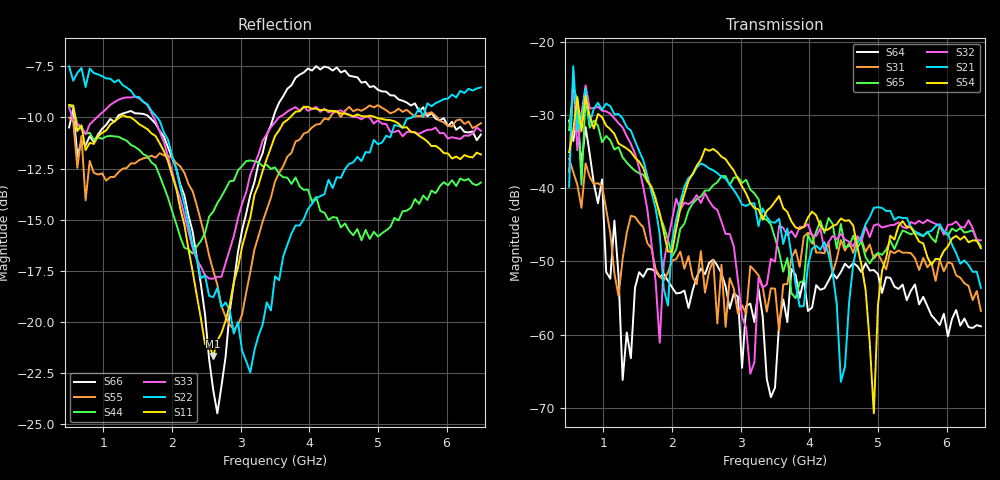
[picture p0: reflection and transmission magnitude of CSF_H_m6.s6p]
!Keysight Technologies,M9804A,MY58100912,A.14.10.03
!Date: Thursday, April 27, 2023 10:28:33
!Correction: S11(C  6-Port  )
!S12(C  6-Port  )
!S13(C  6-Port  )
!S14(C  6-Port  )
!S15(C  6-Port  )
!S16(C  6-Port  )
!S21(C  6-Port  )
!S22(C  6-Port  )
!S23(C  6-Port  )
!S24(C  6-Port  )
!S25(C  6-Port  )
!S26(C  6-Port  )
!S31(C  6-Port  )
!S32(C  6-Port  )
!S33(C  6-Port  )
!S34(C  6-Port  )
!S35(C  6-Port  )
!S36(C  6-Port  )
!S41(C  6-Port  )
!S42(C  6-Port  )
!S43(C  6-Port  )
!S44(C  6-Port  )
!S45(C  6-Port  )
!S46(C  6-Port  )
!S51(C  6-Port  )
!S52(C  6-Port  )
!S53(C  6-Port  )
!S54(C  6-Port  )
!S55(C  6-Port  )
!S56(C  6-Port  )
!S61(C  6-Port  )
!S62(C  6-Port  )
!S63(C  6-Port  )
!S64(C  6-Port  )
!S65(C  6-Port  )
!S66(C  6-Port  )
!S6P File: Measurement: :
# Hz S  RI  R 50
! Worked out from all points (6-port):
!   101 points, 500 MHz to 6.5 GHz, reference 50 ohm
!   strongest paths, dB at 500 MHz, 2 GHz, 3.5 GHz, 5 GHz, 6.5 GHz:
!     S54: -35.1, -48.7, -41.8, -56.0, -48.2
!     S21: -39.8, -47.2, -44.7, -42.6, -53.6
!     S32: -37.8, -44.3, -50.0, -44.9, -47.1
!     S65: -32.0, -49.3, -46.8, -48.8, -47.9
!     S31: -36.0, -49.9, -53.7, -48.9, -56.8
!     S64: -30.8, -53.5, -67.2, -51.7, -58.8
!   lowest |S11| = -21.7 dB at 2.6 GHz (marker M1), VSWR 1.18, Z = 42.6 + j2 ohm
!   |S11| at or under -10 dB: 588 MHz to 1.236 GHz (647.7 MHz wide, 71 % of centre); 1.402 GHz to 3.718 GHz (2.316 GHz wide, 90.5 % of centre); 4.971 GHz to end of sweep
